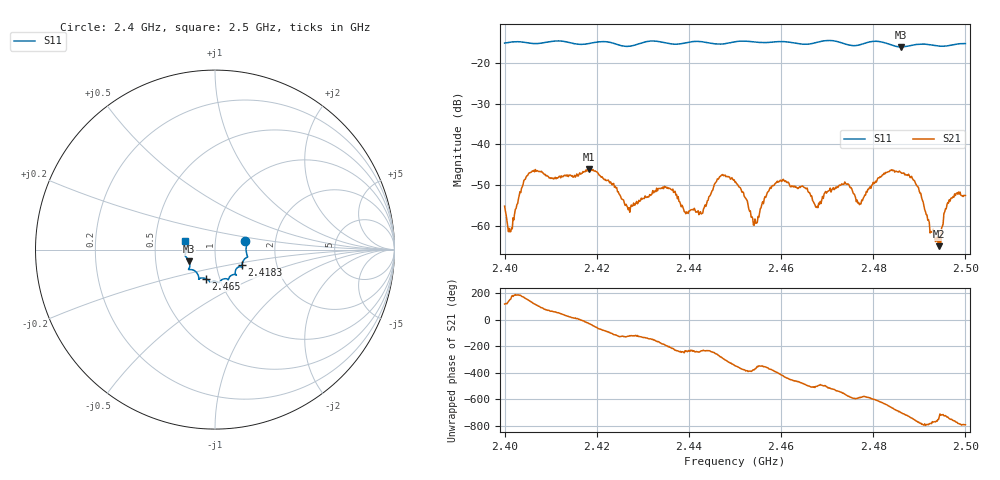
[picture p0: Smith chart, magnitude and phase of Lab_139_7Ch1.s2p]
# Hz S RI R 50
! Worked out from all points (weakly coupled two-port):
!   601 points, 2.4 GHz to 2.5 GHz, reference 50 ohm
!   highest |S21| = -46.10 dB at 2.4183 GHz (marker M1); lowest = -65.1 dB at 2.4942 GHz (marker M2)
!   lowest |S11| = -16.1 dB at 2.486 GHz (marker M3), VSWR 1.37, Z = 37.2 - j4.99 ohm
!   |S11| at or under -10 dB: start of sweep to end of sweep
!   S12 and S22 are empty: the file has one direction only
!   S11 on the Smith chart (normalised r, x): 2.4 GHz: 1.40, +0.14; 2.4183 GHz: 1.33, -0.24; 2.465 GHz: 0.86, -0.28; 2.5 GHz: 0.71, +0.07
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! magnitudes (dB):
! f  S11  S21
! 2.4 GHz  -15.1  -55.2
! 2.4012 GHz  -14.9  -61.6
! 2.4058 GHz  -15.2  -46.8
! 2.4167 GHz  -15.4  -47.2
! 2.4183 GHz  -15.2  -46.1
! 2.4268 GHz  -15.9  -56.1
! 2.4333 GHz  -14.7  -51.0
! 2.4425 GHz  -14.7  -56.6
! 2.4467 GHz  -15.4  -48.0
! 2.45 GHz  -14.8  -49.4
! 2.4543 GHz  -14.9  -58.4
! 2.4587 GHz  -14.8  -49.7
! 2.465 GHz  -15.4  -50.6
! 2.4667 GHz  -15.2  -52.7
! 2.4742 GHz  -15.4  -49.8
! 2.4772 GHz  -15.5  -54.6
! 2.4833 GHz  -15.3  -46.7
! 2.486 GHz  -16.1  -46.9
! 2.4893 GHz  -15.5  -49.9
! 2.4942 GHz  -15.8  -65.1
! 2.4965 GHz  -15.7  -53.7
! 2.5 GHz  -15.2  -52.6
